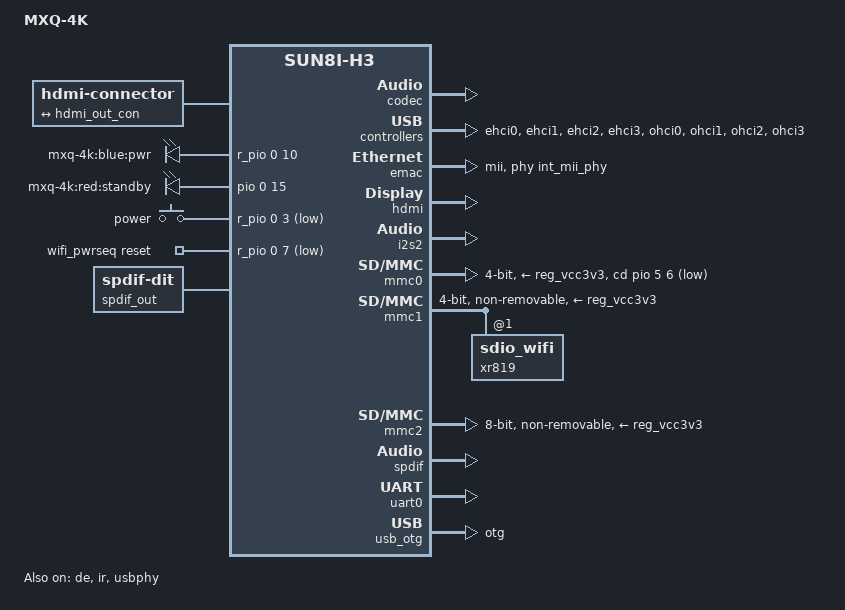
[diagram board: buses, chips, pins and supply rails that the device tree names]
// SPDX-License-Identifier: (GPL-2.0+ or MIT)
/*
 * Copyright (C) 2019 Marcus Cooper <codekipper@gmail.com>
 */

/dts-v1/;
#include "sun8i-h3.dtsi"
#include "sunxi-common-regulators.dtsi"

#include <dt-bindings/gpio/gpio.h>
#include <dt-bindings/input/input.h>

/ {
	model = "MXQ-4K";
	compatible = "unknown,mxq-4k", "allwinner,sun8i-h3";

	aliases {
		serial0 = &uart0;
		ethernet0 = &emac;
		ethernet1 = &xr819;
	};

	chosen {
		stdout-path = "serial0:115200n8";
	};

	connector {
		compatible = "hdmi-connector";
		type = "a";

		port {
			hdmi_con_in: endpoint {
				remote-endpoint = <&hdmi_out_con>;
			};
		};
	};

	leds {
		compatible = "gpio-leds";

		blue {
			label = "mxq-4k:blue:pwr";
			gpios = <&r_pio 0 10 GPIO_ACTIVE_HIGH>; /* PL10 */
			default-state = "on";
		};

		red {
			label = "mxq-4k:red:standby";
			gpios = <&pio 0 15 GPIO_ACTIVE_HIGH>; /* PA15 */
		};
	};

	gpio_keys {
		compatible = "gpio-keys";

		sw4 {
			label = "power";
			gpios = <&r_pio 0 3 GPIO_ACTIVE_LOW>;
		};
	};

	wifi_pwrseq: wifi_pwrseq {
		compatible = "mmc-pwrseq-simple";
		reset-gpios = <&r_pio 0 7 GPIO_ACTIVE_LOW>; /* PL7 */
		clocks = <&rtc 1>;
		clock-names = "ext_clock";
	};

	sound_spdif {
		compatible = "simple-audio-card";
		simple-audio-card,name = "On-board SPDIF";

		simple-audio-card,cpu {
			sound-dai = <&spdif>;
		};

		simple-audio-card,codec {
			sound-dai = <&spdif_out>;
		};
	};

	spdif_out: spdif-out {
		#sound-dai-cells = <0>;
		compatible = "linux,spdif-dit";
	};
};

&codec {
	allwinner,pa-gpios = <&pio 0 16 GPIO_ACTIVE_HIGH>; /* PA16 */
	allwinner,audio-routing =
		"Speaker", "LINEOUT";
	status = "okay";
};

&de {
	status = "okay";
};

&ehci0 {
	status = "okay";
};

&ehci1 {
	status = "okay";
};

&ehci2 {
	status = "okay";
};

&ehci3 {
	status = "okay";
};

&emac {
	phy-handle = <&int_mii_phy>;
	phy-mode = "mii";
	allwinner,leds-active-low;
	status = "okay";
};

&hdmi {
	status = "okay";
};

&hdmi_out {
	hdmi_out_con: endpoint {
		remote-endpoint = <&hdmi_con_in>;
	};
};

&i2s2 {
	status = "okay";
};

&ir {
	pinctrl-names = "default";
	pinctrl-0 = <&r_ir_rx_pin>;
	status = "okay";
};

&mmc0 {
	vmmc-supply = <&reg_vcc3v3>;
	bus-width = <4>;
	cd-gpios = <&pio 5 6 GPIO_ACTIVE_LOW>; /* PF6 */
	status = "okay";
};

&mmc1 {
	vmmc-supply = <&reg_vcc3v3>;
	vqmmc-supply = <&reg_vcc3v3>;
	mmc-pwrseq = <&wifi_pwrseq>;
	bus-width = <4>;
	non-removable;
	status = "okay";

	/*
	 * Explicitly define the sdio device, so that we can add an ethernet
	 * alias for it (which e.g. makes u-boot set a mac-address).
	 */
	xr819: sdio_wifi@1 {
		reg = <1>;
	};
};

&mmc2 {
	pinctrl-names = "default";
	pinctrl-0 = <&mmc2_8bit_pins>;
	vmmc-supply = <&reg_vcc3v3>;
	bus-width = <8>;
	non-removable;
	cap-mmc-hw-reset;
	status = "okay";
};

&ohci0 {
	status = "okay";
};

&ohci1 {
	status = "okay";
};

&ohci2 {
	status = "okay";
};

&ohci3 {
	status = "okay";
};

&reg_usb0_vbus {
	gpio = <&r_pio 0 2 GPIO_ACTIVE_HIGH>; /* PL2 */
	status = "okay";
};

&spdif {
	pinctrl-names = "default";
	pinctrl-0 = <&spdif_tx_pin>;
	status = "okay";
};

&uart0 {
	pinctrl-names = "default";
	pinctrl-0 = <&uart0_pa_pins>;
	status = "okay";
};

&usb_otg {
	dr_mode = "otg";
	status = "okay";
};

&usbphy {
	/* USB VBUS is always on except for the OTG port */
	status = "okay";
	usb0_id_det-gpios = <&pio 0 7 GPIO_ACTIVE_HIGH>; /* PA07 */
	usb0_vbus-supply = <&reg_usb0_vbus>;
};
